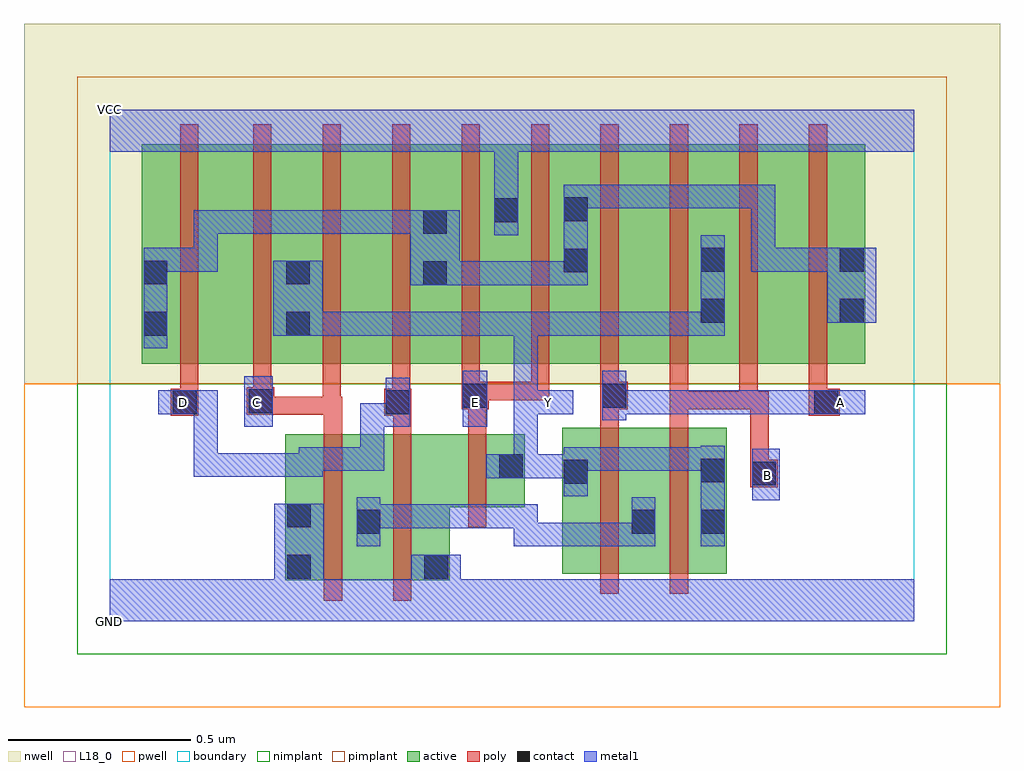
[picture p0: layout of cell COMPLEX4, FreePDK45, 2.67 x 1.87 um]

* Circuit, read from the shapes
.subckt COMPLEX4 A B C D E GND VCC Y
M1 n1 C GND VSUBS nfet w=0.4u l=0.05u
M2 GND D n1 VSUBS nfet w=0.4u l=0.05u
M3 Y E GND VSUBS nfet w=0.2u l=0.05u
M4 n1 A Y VSUBS nfet w=0.4u l=0.05u
M5 Y B n1 VSUBS nfet w=0.4u l=0.05u
M6 n2 D n3 n4 pfet w=0.6u l=0.05u
M7 Y C n2 n4 pfet w=0.6u l=0.05u
M8 n5 C Y n4 pfet w=0.6u l=0.05u
M9 n3 D n5 n4 pfet w=0.6u l=0.05u
M10 VCC E n3 n4 pfet w=0.6u l=0.05u m=2
M11 n6 A n3 n4 pfet w=0.6u l=0.05u
M12 Y B n6 n4 pfet w=0.6u l=0.05u
M13 n7 B Y n4 pfet w=0.6u l=0.05u
M14 n3 A n7 n4 pfet w=0.6u l=0.05u
.ends

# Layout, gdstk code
import gdstk
lib = gdstk.Library(unit=1e-6, precision=1e-09)
def R(c, l, rs):  # rectangles x0, y0, x1, y1
    for r in rs: c.add(gdstk.rectangle(r[:2], r[2:], *l))
def A(c, l, x, y, w, h, nx, ny, dx, dy):  # array of equal rectangles
    R(c, l, [(x+i*dx, y+j*dy, x+i*dx+w, y+j*dy+h) for i in range(nx) for j in range(ny)])
active = (1, 0)
pwell = (2, 0)
nwell = (3, 0)
nimplant = (4, 0)
pimplant = (5, 0)
poly = (9, 0)
contact = (10, 0)
metal1 = (11, 0)
L18_0 = (18, 0)
boundary = (235, 0)

complex4 = lib.new_cell('COMPLEX4')
R(complex4, active, [(0.48,0.112,0.745,0.512), (0.48,0.112,0.555,0.512), (0.67,0.112,0.93,0.512), (0.855,0.112,0.93,0.405), (1.237,0.13,1.497,0.53), (1.422,0.13,1.687,0.53), (0.67,0.195,0.745,0.492), (1.237,0.195,1.312,0.53), (1.422,0.195,1.497,0.492), (1.612,0.195,1.687,0.53), (0.855,0.312,1.135,0.512), (1.06,0.332,1.135,0.512), (0.087,0.705,0.312,1.305), (0.087,0.705,0.192,1.2), (0.312,0.705,0.552,1.305), (0.477,0.705,0.702,1.305), (0.702,0.705,0.927,1.305), (0.852,0.705,1.122,1.305), (1.047,0.705,1.312,1.305), (1.237,0.705,1.462,1.305), (1.462,0.705,1.687,1.305), (1.612,0.705,1.842,1.305), (1.842,0.705,2.067,1.305), (1.992,0.705,2.067,1.2), (0.477,0.707,0.552,1.07), (0.852,0.707,0.927,1.2), (1.047,0.707,1.122,1.305), (1.237,0.707,1.312,1.2), (1.612,0.707,1.687,1.07)])
R(complex4, pwell, [(-0.235,-0.235,2.435,0.65)])
R(complex4, nwell, [(-0.235,0.65,2.435,1.635)])
R(complex4, nimplant, [(-0.09,-0.09,2.29,0.65)])
R(complex4, pimplant, [(-0.09,0.65,2.29,1.49)])
A(complex4, poly, 0.962, 0.605, 0.05, 0.095, 3, 1, 0.19, 0)
A(complex4, poly, 0.392, 0.65, 0.05, 0.71, 9, 1, 0.19, 0)
R(complex4, poly, [(0.585,0.057,0.635,0.567), (0.775,0.057,0.825,0.567), (1.342,0.075,1.392,0.585), (1.532,0.075,1.582,0.585), (0.98,0.257,1.03,0.567), (1.752,0.367,1.827,0.442), (1.752,0.392,1.802,0.63), (1.752,0.392,1.802,0.442), (1.752,0.392,1.802,0.442), (0.585,0.517,0.635,0.615), (0.775,0.517,0.825,0.612), (0.98,0.517,1.03,0.63), (1.342,0.535,1.392,0.63), (1.532,0.535,1.582,0.63), (0.167,0.562,0.242,0.637), (0.75,0.562,0.825,0.637), (1.912,0.562,1.997,0.637), (0.375,0.565,0.45,0.64), (0.4,0.565,0.45,0.615), (0.4,0.565,0.45,0.615), (0.4,0.565,0.632,0.615), (0.582,0.565,0.632,0.7), (0.582,0.565,0.635,0.615), (0.962,0.58,1.037,0.655), (1.342,0.58,1.417,0.655), (1.532,0.58,1.582,0.7), (1.532,0.58,1.582,0.63), (1.532,0.58,1.772,0.63), (1.722,0.58,1.772,0.7), (1.722,0.58,1.772,0.63), (1.722,0.58,1.772,0.63), (1.722,0.58,1.802,0.63), (0.192,0.587,0.242,0.7), (0.772,0.587,0.822,0.7), (1.912,0.587,1.962,0.7), (0.392,0.59,0.442,0.7), (0.987,0.605,1.037,0.655), (0.987,0.605,1.037,0.655), (0.987,0.605,1.202,0.655), (1.152,0.605,1.202,0.655), (0.192,0.65,0.242,1.36)])
R(complex4, contact, [(0.485,0.117,0.55,0.182), (0.86,0.117,0.925,0.182), (0.675,0.24,0.74,0.305), (1.427,0.24,1.492,0.305), (1.617,0.24,1.682,0.305), (0.485,0.257,0.55,0.322), (1.757,0.372,1.822,0.437), (1.242,0.377,1.307,0.442), (1.617,0.38,1.682,0.445), (1.065,0.392,1.13,0.457), (0.172,0.567,0.237,0.632), (0.755,0.567,0.82,0.632), (1.927,0.567,1.992,0.632), (0.38,0.57,0.445,0.635), (0.967,0.585,1.032,0.65), (1.347,0.585,1.412,0.65), (0.092,0.782,0.157,0.847), (0.482,0.782,0.547,0.847), (1.617,0.817,1.682,0.882), (1.997,0.817,2.062,0.882), (0.857,0.92,0.922,0.985), (0.092,0.922,0.157,0.987), (0.482,0.922,0.547,0.987), (1.242,0.955,1.307,1.02), (1.617,0.957,1.682,1.022), (1.997,0.957,2.062,1.022), (0.857,1.06,0.922,1.125), (1.052,1.092,1.117,1.157), (1.242,1.095,1.307,1.16)])
R(complex4, metal1, [(0,0,2.2,0.115), (0.52,0.05,0.585,0.182), (0.895,0.05,0.96,0.182), (0.45,0.117,0.585,0.322), (0.825,0.117,0.96,0.182), (0.675,0.205,0.74,0.34), (1.105,0.205,1.17,0.27), (1.105,0.205,1.17,0.27), (1.105,0.205,1.307,0.27), (1.105,0.205,1.17,0.32), (1.242,0.205,1.307,0.27), (1.242,0.205,1.492,0.27), (1.427,0.205,1.492,0.27), (1.427,0.205,1.492,0.27), (1.427,0.205,1.492,0.34), (1.617,0.205,1.682,0.48), (0.675,0.255,0.74,0.32), (0.675,0.255,0.74,0.32), (0.675,0.255,0.887,0.32), (0.822,0.255,0.887,0.32), (0.822,0.255,0.887,0.32), (0.822,0.255,0.887,0.32), (0.822,0.255,1.17,0.32), (1.757,0.332,1.832,0.472), (1.242,0.342,1.307,0.477), (1.03,0.392,1.17,0.457), (1.105,0.392,1.17,0.457), (1.105,0.392,1.17,0.457), (1.105,0.392,1.307,0.457), (1.105,0.392,1.17,0.632), (0.23,0.395,0.295,0.46), (0.23,0.395,0.432,0.46), (0.23,0.395,0.295,0.632), (0.367,0.395,0.432,0.46), (0.367,0.395,0.432,0.46), (0.367,0.395,0.432,0.46), (0.367,0.395,0.582,0.46), (0.517,0.395,0.582,0.477), (0.517,0.412,0.75,0.477), (0.685,0.412,0.75,0.477), (0.685,0.412,0.75,0.597), (1.242,0.412,1.545,0.477), (1.48,0.412,1.545,0.477), (1.48,0.412,1.545,0.477), (1.48,0.412,1.545,0.477), (1.48,0.412,1.682,0.477), (1.617,0.412,1.682,0.477), (1.617,0.412,1.682,0.477), (0.367,0.532,0.445,0.67), (0.685,0.532,0.75,0.597), (0.685,0.532,0.82,0.597), (0.755,0.532,0.82,0.667), (0.965,0.532,1.032,0.685), (1.347,0.55,1.412,0.685), (0.132,0.567,0.272,0.632), (0.207,0.567,0.295,0.632), (0.23,0.567,0.295,0.632), (1.105,0.567,1.17,0.847), (1.105,0.567,1.267,0.632), (1.347,0.567,1.445,0.632), (1.38,0.567,1.445,0.632), (1.38,0.567,1.682,0.632), (1.617,0.567,1.682,0.632), (1.617,0.567,1.682,0.632), (1.617,0.567,1.682,0.632), (1.617,0.567,1.82,0.632), (1.755,0.567,1.82,0.632), (1.755,0.567,1.82,0.632), (1.755,0.567,1.82,0.632), (1.755,0.567,1.957,0.632), (1.892,0.567,2.067,0.632), (0.092,0.747,0.157,1.022), (0.447,0.782,0.582,0.987), (0.517,0.782,0.582,0.847), (0.517,0.782,0.582,0.847), (0.517,0.782,0.75,0.847), (0.685,0.782,0.75,0.847), (0.685,0.782,0.75,0.847), (0.685,0.782,0.75,0.847), (0.685,0.782,0.957,0.847), (0.892,0.782,0.957,0.847), (0.892,0.782,0.957,0.847), (0.892,0.782,0.957,0.847), (0.892,0.782,1.17,0.847), (1.105,0.782,1.17,0.847), (1.105,0.782,1.17,0.847), (1.105,0.782,1.17,0.847), (1.105,0.782,1.307,0.847), (1.242,0.782,1.307,0.847), (1.242,0.782,1.445,0.847), (1.38,0.782,1.445,0.847), (1.38,0.782,1.445,0.847), (1.38,0.782,1.445,0.847), (1.38,0.782,1.682,0.847), (1.617,0.782,1.682,0.847), (1.617,0.782,1.682,0.847), (1.617,0.782,1.682,1.057), (1.962,0.817,2.097,1.022), (0.822,0.92,0.957,1.125), (0.892,0.92,0.957,0.985), (0.892,0.92,0.957,0.985), (0.892,0.92,1.17,0.985), (1.105,0.92,1.17,0.985), (1.105,0.92,1.17,0.985), (1.105,0.92,1.17,0.985), (1.105,0.92,1.307,0.985), (1.242,0.92,1.307,1.195), (0.092,0.957,0.157,1.022), (0.092,0.957,0.157,1.022), (0.092,0.957,0.295,1.022), (0.23,0.957,0.295,1.022), (0.23,0.957,0.295,1.125), (1.755,0.957,1.82,1.022), (1.755,0.957,2.027,1.022), (1.755,0.957,1.82,1.195), (1.962,0.957,2.027,1.022), (1.962,0.957,2.027,1.022), (1.052,1.057,1.117,1.192), (0.23,1.06,0.295,1.125), (0.23,1.06,0.432,1.125), (0.367,1.06,0.432,1.125), (0.367,1.06,0.432,1.125), (0.367,1.06,0.432,1.125), (0.367,1.06,0.602,1.125), (0.537,1.06,0.602,1.125), (0.537,1.06,0.75,1.125), (0.685,1.06,0.75,1.125), (0.685,1.06,0.75,1.125), (0.685,1.06,0.75,1.125), (0.685,1.06,0.887,1.125), (1.052,1.127,1.117,1.35), (1.242,1.13,1.545,1.195), (1.48,1.13,1.545,1.195), (1.48,1.13,1.545,1.195), (1.48,1.13,1.545,1.195), (1.48,1.13,1.682,1.195), (1.617,1.13,1.682,1.195), (1.617,1.13,1.682,1.195), (1.617,1.13,1.682,1.195), (1.617,1.13,1.82,1.195), (1.755,1.13,1.82,1.195), (1.755,1.13,1.82,1.195), (1.755,1.13,1.82,1.195), (0,1.285,2.2,1.4)])
R(complex4, L18_0, [(0,0,2.2,0.115), (0.52,0.05,0.585,0.182), (0.895,0.05,0.96,0.182), (0.45,0.117,0.585,0.322), (0.825,0.117,0.96,0.182), (1.617,0.205,1.682,0.48), (1.757,0.332,1.832,0.472), (1.242,0.342,1.307,0.477), (1.767,0.367,1.832,0.432), (1.03,0.392,1.17,0.457), (1.105,0.392,1.17,0.457), (1.105,0.392,1.17,0.457), (1.105,0.392,1.307,0.457), (1.105,0.392,1.17,0.632), (0.23,0.395,0.295,0.46), (0.23,0.395,0.295,0.632), (0.23,0.395,0.432,0.46), (0.367,0.395,0.432,0.46), (0.367,0.395,0.432,0.46), (0.367,0.395,0.432,0.46), (0.367,0.395,0.582,0.46), (0.517,0.395,0.582,0.477), (0.517,0.412,0.75,0.477), (0.685,0.412,0.75,0.477), (0.685,0.412,0.75,0.597), (1.242,0.412,1.545,0.477), (1.48,0.412,1.545,0.477), (1.48,0.412,1.545,0.477), (1.48,0.412,1.545,0.477), (1.48,0.412,1.682,0.477), (1.617,0.412,1.682,0.477), (1.617,0.412,1.682,0.477), (0.367,0.532,0.445,0.67), (0.685,0.532,0.75,0.597), (0.685,0.532,0.82,0.597), (0.755,0.532,0.82,0.667), (0.965,0.532,1.032,0.685), (1.347,0.55,1.412,0.685), (0.132,0.567,0.272,0.632), (0.167,0.567,0.232,0.632), (0.207,0.567,0.295,0.632), (0.23,0.567,0.295,0.632), (0.367,0.567,0.432,0.632), (0.967,0.567,1.032,0.632), (1.105,0.567,1.267,0.632), (1.105,0.567,1.17,0.847), (1.167,0.567,1.232,0.632), (1.347,0.567,1.445,0.632), (1.38,0.567,1.445,0.632), (1.38,0.567,1.682,0.632), (1.617,0.567,1.682,0.632), (1.617,0.567,1.682,0.632), (1.617,0.567,1.682,0.632), (1.617,0.567,1.82,0.632), (1.755,0.567,1.82,0.632), (1.755,0.567,1.82,0.632), (1.755,0.567,1.82,0.632), (1.755,0.567,1.957,0.632), (1.892,0.567,2.067,0.632), (1.967,0.567,2.032,0.632), (0.447,0.782,0.582,0.987), (0.517,0.782,0.582,0.847), (0.517,0.782,0.582,0.847), (0.517,0.782,0.75,0.847), (0.685,0.782,0.75,0.847), (0.685,0.782,0.75,0.847), (0.685,0.782,0.75,0.847), (0.685,0.782,0.957,0.847), (0.892,0.782,0.957,0.847), (0.892,0.782,0.957,0.847), (0.892,0.782,0.957,0.847), (0.892,0.782,1.17,0.847), (1.105,0.782,1.17,0.847), (1.105,0.782,1.17,0.847), (1.105,0.782,1.17,0.847), (1.105,0.782,1.307,0.847), (1.242,0.782,1.307,0.847), (1.242,0.782,1.445,0.847), (1.38,0.782,1.445,0.847), (1.38,0.782,1.445,0.847), (1.38,0.782,1.445,0.847), (1.38,0.782,1.682,0.847), (1.617,0.782,1.682,0.847), (1.617,0.782,1.682,0.847), (1.617,0.782,1.682,1.057), (1.052,1.057,1.117,1.192), (1.052,1.127,1.117,1.35), (0,1.285,2.2,1.4)])
R(complex4, boundary, [(0,0,2.2,1.4)])
complex4.add(gdstk.Label('A', (2,0.6), layer=11, texttype=0))
complex4.add(gdstk.Label('B', (1.8,0.4), layer=11, texttype=0))
complex4.add(gdstk.Label('C', (0.4,0.6), layer=11, texttype=0))
complex4.add(gdstk.Label('D', (0.2,0.6), layer=11, texttype=0))
complex4.add(gdstk.Label('E', (1,0.6), layer=11, texttype=0))
complex4.add(gdstk.Label('Y', (1.2,0.6), layer=11, texttype=0))
complex4.add(gdstk.Label('VCC', (0,1.4), layer=11, texttype=0))
complex4.add(gdstk.Label('GND', (0,0), layer=11, texttype=0))

lib.write_gds('COMPLEX4.gds')
